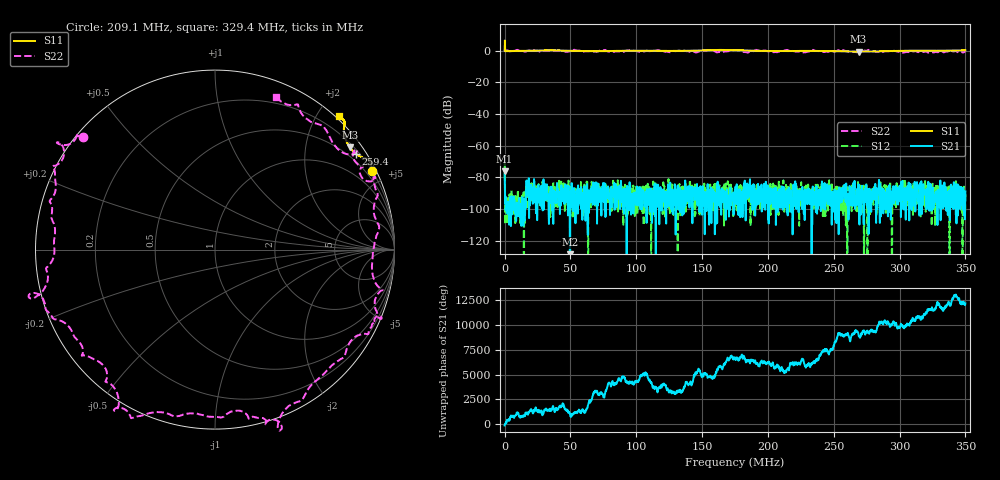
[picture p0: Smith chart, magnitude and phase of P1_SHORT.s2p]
# Hz S RI R 50
! RAW DATA - UNCALIBRATED
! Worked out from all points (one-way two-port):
!   1601 points, 30 kHz to 350 MHz, reference 50 ohm
!   highest |S21| = -76.09 dB at 30 kHz (marker M1); lowest = -191.4 dB at 49.68 MHz (marker M2)
!   lowest |S11| = -0.5 dB at 268.9 MHz (marker M3), VSWR 33.76, Z = 14.5 + j147 ohm
!   |S11| at or under -10 dB: nowhere
!   |S22| runs from -1.1 to 0.7 dB; largest |S21 - S12| = 0.00023
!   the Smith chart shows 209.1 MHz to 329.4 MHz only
!   S11 on the Smith chart (normalised r, x): 209.1 MHz: 0.18, +4.22; 259.4 MHz: 0.30, +3.22; 329.4 MHz: -0.05, +2.29
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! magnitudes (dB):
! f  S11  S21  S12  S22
! 30 kHz  0.5  -76.1  -71.1  0.4
! 1.999 MHz  -0.2  -96.4  -94.2  0.4
! 49.68 MHz  0.0  -191.4  -92.3  -0.3
! 58.43 MHz  -0.2  -92.3  -94.8  -0.4
! 116.8 MHz  0.0  -91.0  -93.7  0.4
! 145.3 MHz  0.2  -90.9  -92.2  -1.1
! 155.1 MHz  0.5  -88.2  -104.5  0.5
! 164.3 MHz  0.6  -90.3  -89.8  -0.8
! 175 MHz  0.5  -92.0  -86.6  0.5
! 183.8 MHz  0.3  -90.9  -83.5  -0.9
! 191.6 MHz  0.0  -96.9  -94.6  0.5
! 209.1 MHz  -0.2  -98.9  -97.7  -0.3
! 214.2 MHz  -0.1  -90.0  -96.7  0.5
! 227.3 MHz  0.0  -103.0  -97.6  -0.9
! 233.4 MHz  0.0  -89.9  -97.5  0.4
! 241.9 MHz  -0.1  -86.8  -84.1  -0.7
! 259.4 MHz  -0.5  -83.8  -89.9  -0.3
! 268.9 MHz  -0.5  -84.3  -94.3  -0.4
! 276.7 MHz  -0.4  -94.4  -95.8  0.6
! 291.8 MHz  -0.1  -97.7  -101.3  -0.2
! 329.4 MHz  0.1  -95.9  -86.6  -0.8
! 350 MHz  0.4  -88.8  -89.0  -0.4
